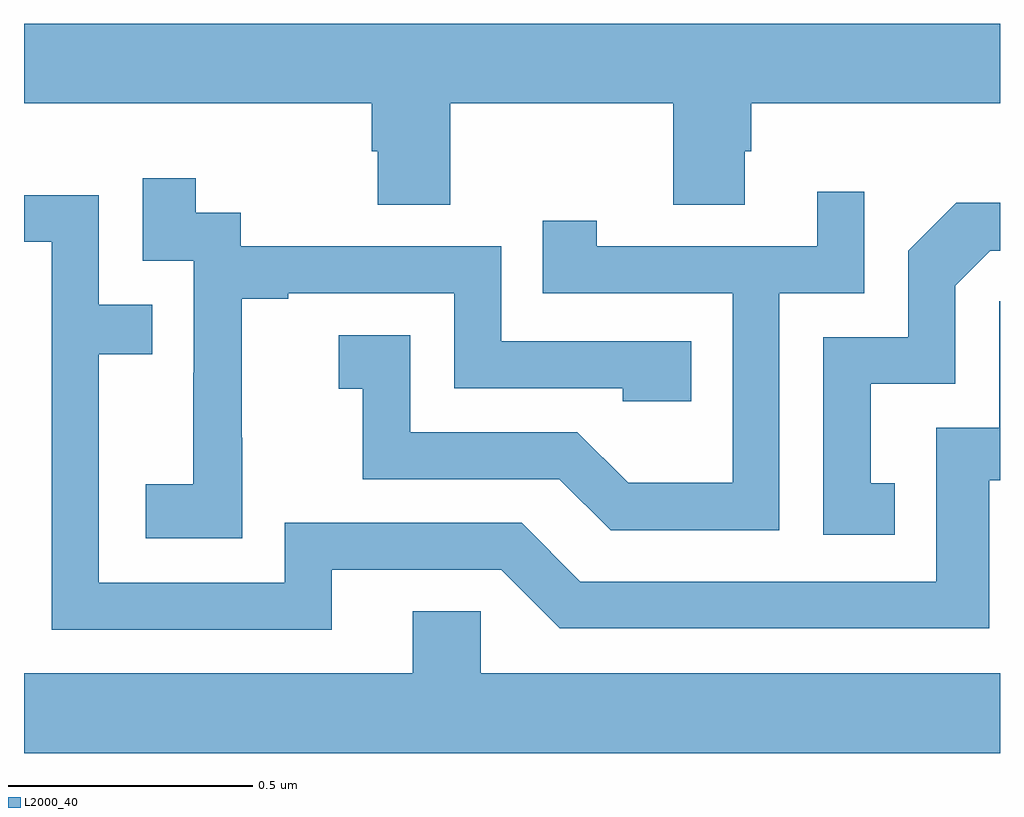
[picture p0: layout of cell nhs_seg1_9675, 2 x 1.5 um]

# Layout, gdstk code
import gdstk
lib = gdstk.Library(unit=1e-6, precision=1e-09)
def P(c, l, *ps):  # polygons
    for p in ps: c.add(gdstk.Polygon(p, *l))
L2000_40 = (2000, 40)

nhs_seg1_9675 = lib.new_cell('nhs_seg1_9675')
P(nhs_seg1_9675, L2000_40, [(231.873,581.036),(232.33,581.036),(232.33,580.828),(232.477,580.828),(232.477,580.938),(232.49,580.938),(232.49,581.036),(233,581.036),(233,581.199),(231,581.199),(231,581.036),(231.713,581.036),(231.713,580.938),(231.725,580.938),(231.725,580.828),(231.873,580.828)],
  [(231.447,580.351),(231.446,580.351),(231.446,580.635),(231.541,580.635),(231.541,580.647),(231.882,580.647),(231.882,580.452),(232.227,580.452),(232.227,580.425),(232.367,580.425),(232.367,580.548),(231.978,580.548),(231.978,580.743),(231.444,580.743),(231.444,580.812),(231.352,580.812),(231.352,580.882),(231.243,580.882),(231.243,580.713),(231.348,580.713),(231.348,580.484),(231.347,580.484),(231.347,580.255),(231.249,580.255),(231.249,580.145),(231.447,580.145)],
  [(232.548,580.647),(232.722,580.647),(232.722,580.855),(232.625,580.855),(232.625,580.743),(232.174,580.743),(232.174,580.795),(232.063,580.795),(232.063,580.647),(232.452,580.647),(232.452,580.258),(232.238,580.258),(232.134,580.362),(231.792,580.362),(231.792,580.561),(231.645,580.561),(231.645,580.451),(231.694,580.451),(231.694,580.266),(232.097,580.266),(232.202,580.161),(232.548,580.161)],
  [(231.631,580.08),(231.978,580.08),(232.098,579.96),(232.978,579.96),(232.978,580.263),(233,580.263),(233,580.63),(232.998,580.63),(232.998,580.371),(232.869,580.371),(232.869,580.056),(232.14,580.056),(232.02,580.176),(231.534,580.176),(231.534,580.053),(231.153,580.053),(231.153,580.522),(231.263,580.522),(231.263,580.623),(231.153,580.623),(231.153,580.848),(231,580.848),(231,580.752),(231.057,580.752),(231.057,579.957),(231.631,579.957)],
  [(232.784,580.257),(232.735,580.257),(232.735,580.461),(232.908,580.461),(232.908,580.662),(232.98,580.734),(233,580.734),(233,580.832),(232.91,580.832),(232.812,580.734),(232.812,580.557),(232.638,580.557),(232.638,580.152),(232.784,580.152)],
  [(233,579.868),(231.936,579.868),(231.936,579.995),(231.797,579.995),(231.797,579.868),(231,579.868),(231,579.704),(233,579.704)])

lib.write_gds('nhs_seg1_9675.gds')
